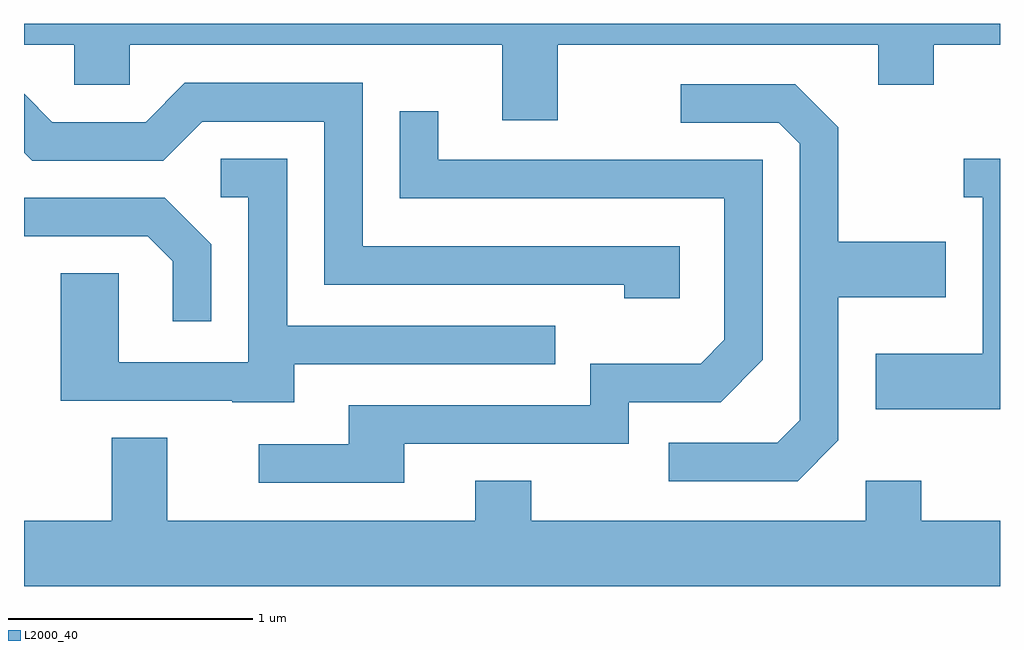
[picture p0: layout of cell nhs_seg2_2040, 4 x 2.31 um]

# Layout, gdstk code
import gdstk
lib = gdstk.Library(unit=1e-6, precision=1e-09)
def P(c, l, *ps):  # polygons
    for p in ps: c.add(gdstk.Polygon(p, *l))
L2000_40 = (2000, 40)

nhs_seg2_2040 = lib.new_cell('nhs_seg2_2040')
P(nhs_seg2_2040, L2000_40, [(245.611,981.716),(245.816,981.716),(245.816,981.551),(246.044,981.551),(246.044,981.716),(247.571,981.716),(247.571,981.406),(247.799,981.406),(247.799,981.716),(249.111,981.716),(249.111,981.551),(249.339,981.551),(249.339,981.716),(249.611,981.716),(249.611,981.802),(245.611,981.802)],
  [(248.299,980.889),(246.999,980.889),(246.999,981.559),(246.269,981.559),(246.109,981.399),(245.727,981.399),(245.611,981.515),(245.611,981.274),(245.644,981.241),(246.182,981.241),(246.342,981.401),(246.841,981.401),(246.841,980.731),(248.071,980.731),(248.071,980.676),(248.299,980.676)],
  [(248.949,980.094),(248.949,980.681),(249.389,980.681),(249.389,980.909),(248.949,980.909),(248.949,981.377),(248.772,981.554),(248.303,981.554),(248.303,981.396),(248.704,981.396),(248.791,981.309),(248.791,980.177),(248.699,980.084),(248.253,980.084),(248.253,979.926),(248.782,979.926)],
  [(247.169,980.081),(248.089,980.081),(248.089,980.251),(248.467,980.251),(248.639,980.424),(248.639,981.244),(247.309,981.244),(247.309,981.443),(247.151,981.443),(247.151,981.086),(248.481,981.086),(248.481,980.507),(248.384,980.409),(247.931,980.409),(247.931,980.239),(246.941,980.239),(246.941,980.079),(246.573,980.079),(246.573,979.921),(247.169,979.921)],
  [(246.719,980.406),(247.788,980.406),(247.788,980.564),(246.689,980.564),(246.689,981.249),(246.418,981.249),(246.418,981.091),(246.531,981.091),(246.531,980.414),(245.999,980.414),(245.999,980.779),(245.761,980.779),(245.761,980.256),(246.465,980.256),(246.465,980.251),(246.719,980.251)],
  [(249.611,981.249),(249.463,981.249),(249.463,981.091),(249.541,981.091),(249.541,980.449),(249.101,980.449),(249.101,980.221),(249.611,980.221)],
  [(246.379,980.897),(246.187,981.089),(245.611,981.089),(245.611,980.931),(246.119,980.931),(246.221,980.829),(246.221,980.583),(246.379,980.583)],
  [(249.611,979.764),(249.289,979.764),(249.289,979.929),(249.061,979.929),(249.061,979.764),(247.689,979.764),(247.689,979.929),(247.461,979.929),(247.461,979.764),(246.199,979.764),(246.199,980.104),(245.971,980.104),(245.971,979.764),(245.611,979.764),(245.611,979.496),(249.611,979.496)])

lib.write_gds('nhs_seg2_2040.gds')
